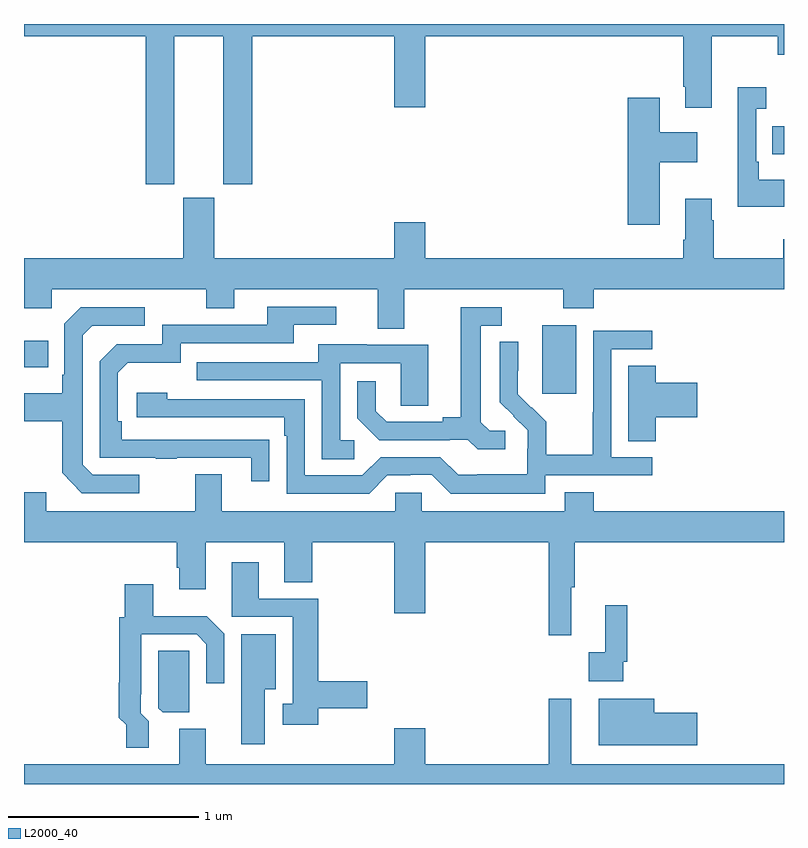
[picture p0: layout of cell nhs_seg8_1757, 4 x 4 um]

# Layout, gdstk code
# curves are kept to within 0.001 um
import gdstk
lib = gdstk.Library(unit=1e-6, precision=1e-09)
def R(c, l, rs):  # rectangles x0, y0, x1, y1
    for r in rs: c.add(gdstk.rectangle(r[:2], r[2:], *l))
def P(c, l, *ps):  # polygons
    for p in ps: c.add(gdstk.Polygon(p, *l))
L2000_40 = (2000, 40)

nhs_seg8_1757 = lib.new_cell('nhs_seg8_1757')
R(nhs_seg8_1757, L2000_40, [(225.728,1111.953,225.907,1112.314), (223,1112.093,223.127,1112.233), (226.939,1113.215,227,1113.363)])
P(nhs_seg8_1757, L2000_40, [(223.792,1113.836),(224.048,1113.836),(224.048,1113.057),(224.201,1113.057),(224.201,1113.836),(224.948,1113.836),(224.948,1113.462),(225.112,1113.462),(225.112,1113.836),(226.469,1113.836),(226.469,1113.571),(226.481,1113.571),(226.481,1113.459),(226.621,1113.459),(226.621,1113.836),(226.966,1113.836),(226.966,1113.737),(227,1113.737),(227,1113.9),(223,1113.9),(223,1113.836),(223.64,1113.836),(223.64,1113.057),(223.792,1113.057)],
  [(227,1113.079),(226.867,1113.079),(226.867,1113.175),(226.854,1113.175),(226.854,1113.455),(226.906,1113.455),(226.906,1113.568),(226.757,1113.568),(226.757,1112.939),(227,1112.939)],
  [(226.345,1113.173),(226.543,1113.173),(226.543,1113.331),(226.345,1113.331),(226.345,1113.511),(226.178,1113.511),(226.178,1112.844),(226.345,1112.844)],
  [(225.001,1112.504),(225.838,1112.504),(225.838,1112.405),(225.998,1112.405),(225.998,1112.504),(227,1112.504),(227,1112.767),(226.996,1112.767),(226.996,1112.668),(226.629,1112.668),(226.629,1112.867),(226.621,1112.867),(226.621,1112.98),(226.481,1112.98),(226.481,1112.764),(226.469,1112.764),(226.469,1112.668),(225.112,1112.668),(225.112,1112.857),(224.948,1112.857),(224.948,1112.668),(224.002,1112.668),(224.002,1112.985),(223.838,1112.985),(223.838,1112.668),(223,1112.668),(223,1112.405),(223.146,1112.405),(223.146,1112.504),(223.96,1112.504),(223.96,1112.405),(224.107,1112.405),(224.107,1112.504),(224.861,1112.504),(224.861,1112.296),(225.001,1112.296)],
  [(224.291,1111.712),(223.514,1111.713),(223.514,1111.81),(223.494,1111.81),(223.494,1112.064),(223.547,1112.117),(223.824,1112.117),(223.824,1112.22),(224.419,1112.22),(224.419,1112.316),(224.644,1112.316),(224.644,1112.412),(224.279,1112.412),(224.279,1112.316),(223.728,1112.316),(223.728,1112.214),(223.488,1112.214),(223.398,1112.124),(223.398,1111.617),(223.693,1111.617),(223.693,1111.612),(223.805,1111.612),(223.805,1111.617),(224.195,1111.617),(224.195,1111.494),(224.291,1111.494)],
  [(223.606,1111.527),(223.362,1111.527),(223.308,1111.581),(223.308,1112.262),(223.359,1112.313),(223.636,1112.313),(223.636,1112.409),(223.299,1112.409),(223.212,1112.322),(223.212,1112.053),(223.2,1112.053),(223.2,1111.957),(223,1111.957),(223,1111.81),(223.2,1111.81),(223.2,1111.537),(223.305,1111.431),(223.606,1111.431)],
  [(225.532,1111.758),(225.45,1111.758),(225.403,1111.805),(225.403,1112.313),(225.514,1112.313),(225.514,1112.409),(225.299,1112.409),(225.299,1111.829),(225.203,1111.829),(225.203,1111.806),(224.908,1111.806),(224.851,1111.863),(224.851,1112.02),(224.754,1112.02),(224.754,1111.826),(224.87,1111.71),(225.242,1111.71),(225.242,1111.713),(225.336,1111.713),(225.388,1111.661),(225.532,1111.661)],
  [(225.744,1111.524),(226.306,1111.524),(226.306,1111.62),(226.092,1111.62),(226.092,1112.187),(226.306,1112.187),(226.306,1112.286),(225.996,1112.286),(225.996,1111.856),(225.994,1111.856),(225.994,1111.633),(225.749,1111.633),(225.749,1111.807),(225.672,1111.884),(225.669,1111.881),(225.599,1111.952),(225.6,1112.228),(225.504,1112.228),(225.504,1111.91),(225.65,1111.762),(225.65,1111.665),(225.648,1111.665),(225.648,1111.531),(225.385,1111.531),(225.385,1111.527),(225.285,1111.527),(225.192,1111.62),(224.877,1111.62),(224.781,1111.524),(224.478,1111.524),(224.478,1111.926),(223.754,1111.926),(223.754,1111.96),(223.593,1111.96),(223.593,1111.83),(224.369,1111.83),(224.369,1111.733),(224.382,1111.733),(224.382,1111.428),(224.817,1111.428),(224.913,1111.524),(225.032,1111.524),(225.032,1111.527),(225.147,1111.527),(225.247,1111.427),(225.744,1111.427)],
  [(224.737,1111.71),(224.664,1111.71),(224.664,1112.115),(224.982,1112.115),(224.982,1111.891),(225.127,1111.891),(225.127,1112.211),(224.803,1112.211),(224.803,1112.215),(224.549,1112.215),(224.549,1112.121),(223.909,1112.121),(223.909,1112.025),(224.568,1112.025),(224.568,1111.609),(224.737,1111.609)],
  [(226.325,1111.829),(226.543,1111.829),(226.543,1112.012),(226.325,1112.012),(226.325,1112.102),(226.181,1112.102),(226.181,1111.705),(226.325,1111.705)],
  [(225.881,1110.936),(225.899,1110.936),(225.899,1111.172),(227,1111.172),(227,1111.336),(225.998,1111.336),(225.998,1111.435),(225.845,1111.435),(225.845,1111.336),(225.093,1111.336),(225.093,1111.434),(224.955,1111.434),(224.955,1111.336),(224.041,1111.336),(224.041,1111.531),(223.901,1111.531),(223.901,1111.336),(223.117,1111.336),(223.117,1111.435),(223,1111.435),(223,1111.172),(223.805,1111.172),(223.805,1111.039),(223.817,1111.039),(223.817,1110.924),(223.957,1110.924),(223.957,1111.172),(224.369,1111.172),(224.369,1110.961),(224.517,1110.961),(224.517,1111.172),(224.948,1111.172),(224.948,1110.798),(225.112,1110.798),(225.112,1111.172),(225.763,1111.172),(225.763,1110.684),(225.881,1110.684)],
  [(224.549,1110.298),(224.806,1110.298),(224.806,1110.44),(224.549,1110.44),(224.549,1110.876),(224.236,1110.876),(224.236,1111.066),(224.093,1111.066),(224.093,1110.78),(224.414,1110.78),(224.414,1110.322),(224.361,1110.322),(224.361,1110.212),(224.549,1110.212)],
  [(223.657,1110.23),(223.614,1110.273),(223.614,1110.373),(223.617,1110.373),(223.617,1110.687),(223.908,1110.687),(223.959,1110.636),(223.959,1110.429),(224.055,1110.429),(224.055,1110.69),(223.961,1110.784),(223.681,1110.784),(223.681,1110.952),(223.529,1110.952),(223.529,1110.777),(223.501,1110.777),(223.501,1110.434),(223.499,1110.434),(223.499,1110.25),(223.537,1110.212),(223.537,1110.09),(223.657,1110.09)],
  [(226.155,1110.544),(226.175,1110.544),(226.175,1110.841),(226.058,1110.841),(226.058,1110.593),(225.972,1110.593),(225.972,1110.44),(226.155,1110.44)],
  [(224.266,1110.398),(224.326,1110.398),(224.326,1110.688),(224.144,1110.688),(224.144,1110.108),(224.266,1110.108)],
  [(223.87,1110.491),(223.869,1110.491),(223.869,1110.602),(223.707,1110.602),(223.707,1110.3),(223.731,1110.277),(223.87,1110.277)],
  [(226.543,1110.275),(226.318,1110.275),(226.318,1110.349),(226.025,1110.349),(226.025,1110.104),(226.543,1110.104)],
  [(227,1110.004),(225.88,1110.004),(225.88,1110.349),(225.763,1110.349),(225.763,1110.004),(225.112,1110.004),(225.112,1110.193),(224.948,1110.193),(224.948,1110.004),(223.957,1110.004),(223.957,1110.192),(223.817,1110.192),(223.817,1110.004),(223,1110.004),(223,1109.9),(227,1109.9)])

lib.write_gds('nhs_seg8_1757.gds')
